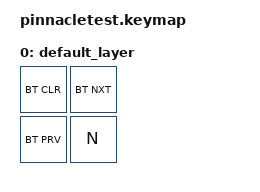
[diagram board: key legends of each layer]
#include <behaviors.dtsi>
#include <dt-bindings/zmk/keys.h>
#include <dt-bindings/zmk/bt.h>

/ {
    keymap {
        compatible = "zmk,keymap";
        default_layer {
            bindings = <
                &bt BT_CLR       &bt BT_NXT
                &bt BT_PRV       &kp N
            >;
        };
    };
};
